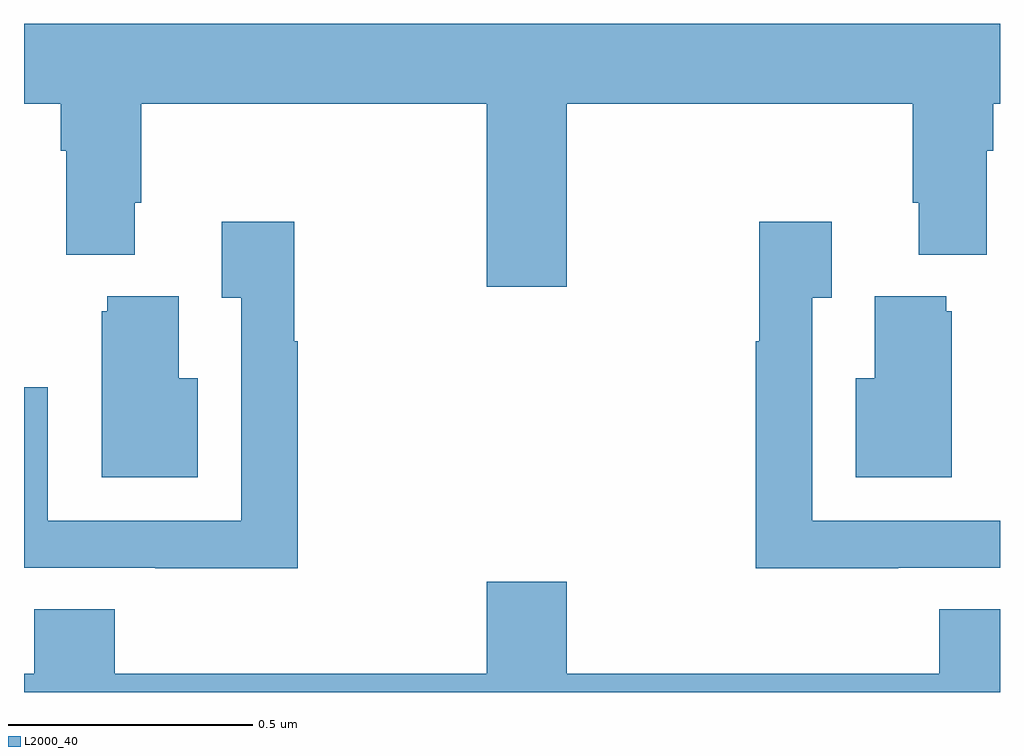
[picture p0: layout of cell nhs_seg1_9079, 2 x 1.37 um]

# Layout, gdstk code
import gdstk
lib = gdstk.Library(unit=1e-6, precision=1e-09)
def P(c, l, *ps):  # polygons
    for p in ps: c.add(gdstk.Polygon(p, *l))
L2000_40 = (2000, 40)

nhs_seg1_9079 = lib.new_cell('nhs_seg1_9079')
P(nhs_seg1_9079, L2000_40, [(225.112,546.404),(225.821,546.404),(225.821,546.202),(225.833,546.202),(225.833,546.095),(225.973,546.095),(225.973,546.308),(225.986,546.308),(225.986,546.404),(226,546.404),(226,546.568),(224,546.568),(224,546.404),(224.075,546.404),(224.075,546.308),(224.087,546.308),(224.087,546.095),(224.227,546.095),(224.227,546.202),(224.24,546.202),(224.24,546.404),(224.948,546.404),(224.948,546.03),(225.112,546.03)],
  [(224.561,545.918),(224.554,545.918),(224.554,546.163),(224.405,546.163),(224.405,546.007),(224.445,546.007),(224.445,545.55),(224.049,545.55),(224.049,545.824),(224,545.824),(224,545.454),(224.269,545.454),(224.269,545.453),(224.561,545.453)],
  [(225.791,545.454),(226,545.454),(226,545.55),(225.615,545.55),(225.615,546.007),(225.655,546.007),(225.655,546.163),(225.507,546.163),(225.507,545.918),(225.499,545.918),(225.499,545.453),(225.791,545.453)],
  [(224.356,545.842),(224.317,545.842),(224.317,546.01),(224.171,546.01),(224.171,545.979),(224.159,545.979),(224.159,545.639),(224.356,545.639)],
  [(225.901,545.979),(225.89,545.979),(225.89,546.01),(225.743,546.01),(225.743,545.842),(225.704,545.842),(225.704,545.639),(225.901,545.639)],
  [(226,545.369),(225.875,545.369),(225.875,545.236),(225.112,545.236),(225.112,545.425),(224.948,545.425),(224.948,545.236),(224.186,545.236),(224.186,545.369),(224.021,545.369),(224.021,545.236),(224,545.236),(224,545.199),(226,545.199)])

lib.write_gds('nhs_seg1_9079.gds')
